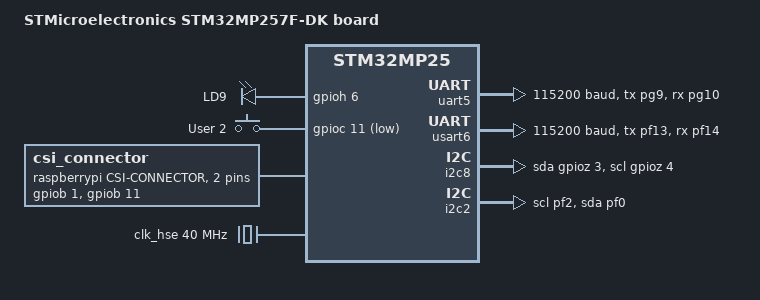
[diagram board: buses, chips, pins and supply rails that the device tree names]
/*
 * Copyright (C) 2025 Savoir-faire Linux, Inc.
 *
 * SPDX-License-Identifier: Apache-2.0
 */

/dts-v1/;
#include <st/mp2/stm32mp257_m33.dtsi>
#include <st/mp2/stm32mp257fakx-pinctrl.dtsi>
#include <zephyr/dt-bindings/gpio/raspberrypi-csi-connector.h>
#include <zephyr/dt-bindings/input/input-event-codes.h>
#include <zephyr/dt-bindings/video/video-interfaces.h>

/ {
	model = "STMicroelectronics STM32MP257F-DK board";
	compatible = "st,stm32mp257f-dk", "st,stm32mp25";

	chosen {
		zephyr,console = &uart5;
		zephyr,flash = &ddr_code;
		zephyr,shell-uart = &uart5;
		zephyr,sram = &ddr_sys;
	};

	leds {
		compatible = "gpio-leds";

		orange_led_9: led_9 {
			gpios = <&gpioh 6 GPIO_ACTIVE_HIGH>;
			label = "LD9";
		};
	};

	gpio_keys {
		compatible = "gpio-keys";

		button_user2: button4 {
			gpios = <&gpioc 11 GPIO_ACTIVE_LOW>;
			label = "User 2";
			zephyr,code = <INPUT_KEY_0>;
		};
	};

	aliases {
		led0 = &orange_led_9;
		sw0 = &button_user2;
	};

	/* CN8 camera connector: CAM.RST on PB1, CAM_EN on PB11 */
	csi_connector: connector_csi {
		compatible = "raspberrypi,csi-connector";
		#gpio-cells = <2>;
		gpio-map-mask = <0xffffffff 0xffffffc0>;
		gpio-map-pass-thru = <0 0x3f>;
		gpio-map = <CSI_IO0 0 &gpiob 1 0>,
			   <CSI_IO1 0 &gpiob 11 0>;
	};
};

&gpiob {
	csi_gpio0_hog: csi-gpio0-hog {
		gpio-hog;
		gpios = <1 GPIO_ACTIVE_HIGH>;
		status = "disabled";
	};

	csi_gpio1_hog: csi-gpio1-hog {
		gpio-hog;
		gpios = <11 GPIO_ACTIVE_HIGH>;
		status = "disabled";
	};
};

&clk_hsi {
	status = "okay";
};

&clk_hse {
	clock-frequency = <DT_FREQ_M(40)>;
	status = "okay";
};

&rcc {
	clock-frequency = <DT_FREQ_M(400)>;
};

&mailbox {
	status = "okay";
};

&uart5 {
	pinctrl-0 = <&uart5_tx_pg9 &uart5_rx_pg10>;
	pinctrl-names = "default";
	current-speed = <115200>;
	status = "okay";
};

&usart6 {
	pinctrl-0 = <&usart6_tx_pf13 &usart6_rx_pf14>;
	pinctrl-names = "default";
	current-speed = <115200>;
	status = "okay";
};

&i2c8 {
	/* Pin conflict with i3c4. Enable only with i3c4 disabled */
	pinctrl-0 = <&i2c8_scl_pz4 &i2c8_sda_pz3>;
	pinctrl-names = "default";
	scl-gpios = <&gpioz 4 GPIO_ACTIVE_HIGH>;
	sda-gpios = <&gpioz 3 GPIO_ACTIVE_HIGH>;
	status = "okay";
};

&i3c4 {
	/* Pin conflict with i2c8. Enable only with i2c8 disabled */
	pinctrl-0 = <&i3c4_scl_pz4 &i3c4_sda_pz3>;
	pinctrl-names = "default";
	status = "disabled";
};

csi_i2c: &i2c2 {
	/* Shared with the LVDS touch panel: disable i2c2 on the Cortex-A35 side */
	pinctrl-0 = <&i2c2_scl_pf2 &i2c2_sda_pf0>;
	pinctrl-names = "default";
	scl-gpios = <&gpiof 2 GPIO_ACTIVE_HIGH>;
	sda-gpios = <&gpiof 0 GPIO_ACTIVE_HIGH>;
};

csi_interface: &dcmipp {
	port {
		csi_ep_in: endpoint {};
	};
};

csi_capture_port: &pipe_main {};
